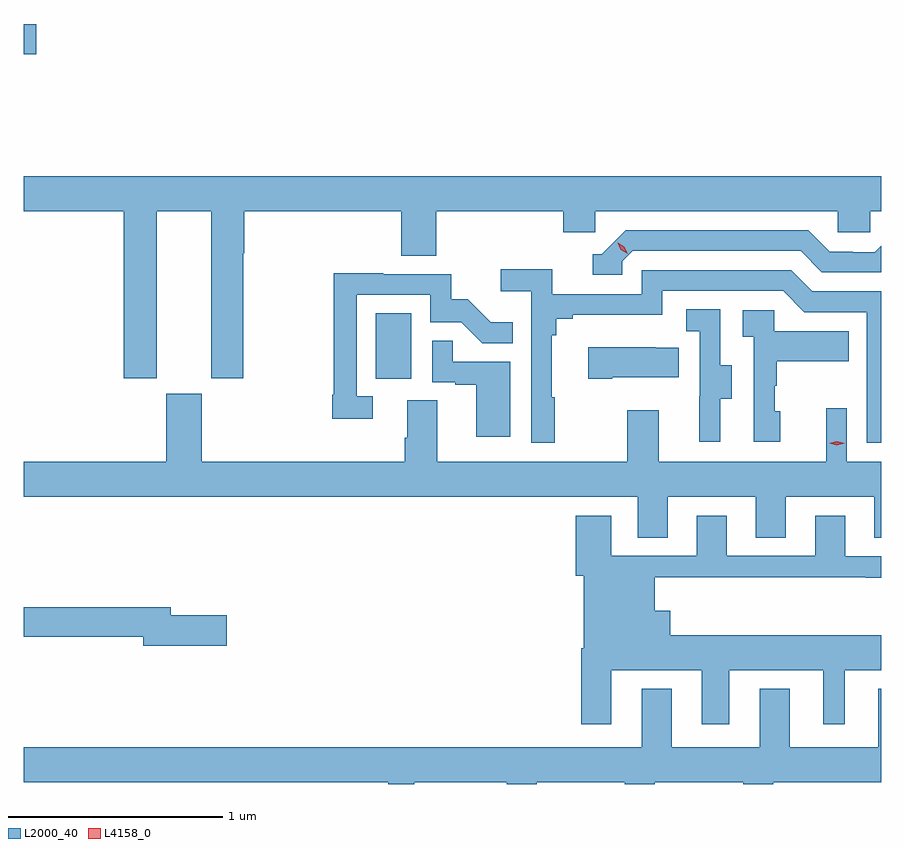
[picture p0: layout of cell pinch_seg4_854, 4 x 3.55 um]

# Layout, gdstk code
import gdstk
lib = gdstk.Library(unit=1e-6, precision=1e-09)
def R(c, l, rs):  # rectangles x0, y0, x1, y1
    for r in rs: c.add(gdstk.rectangle(r[:2], r[2:], *l))
def P(c, l, *ps):  # polygons
    for p in ps: c.add(gdstk.Polygon(p, *l))
L2000_40 = (2000, 40)
L4158_0 = (4158, 0)

pinch_seg4_854 = lib.new_cell('pinch_seg4_854')
R(pinch_seg4_854, L2000_40, [(840.644,801.366,840.808,801.673), (839.001,802.88,839.059,803.022)])
P(pinch_seg4_854, L2000_40, [(839.62,802.148),(839.876,802.148),(839.876,801.369),(840.024,801.369),(840.024,801.952),(840.029,801.952),(840.029,802.148),(840.761,802.148),(840.761,801.94),(840.926,801.94),(840.926,802.148),(841.517,802.148),(841.517,802.05),(841.668,802.05),(841.668,802.148),(842.799,802.148),(842.799,802.05),(842.949,802.05),(842.949,802.148),(843.001,802.148),(843.001,802.312),(839.001,802.312),(839.001,802.148),(839.468,802.148),(839.468,801.369),(839.62,801.369)],
  [(841.794,801.915),(841.842,801.963),(842.625,801.963),(842.724,801.864),(843.001,801.864),(843.001,801.988),(842.971,801.957),(842.868,801.957),(842.868,801.96),(842.761,801.96),(842.662,802.059),(841.809,802.059),(841.698,801.948),(841.655,801.948),(841.655,801.852),(841.794,801.852)],
  [(841.477,801.281),(841.465,801.281),(841.465,801.569),(841.484,801.569),(841.484,801.646),(841.561,801.646),(841.561,801.665),(841.98,801.665),(841.98,801.777),(842.544,801.777),(842.643,801.678),(842.934,801.678),(842.934,801.069),(843.001,801.069),(843.001,801.774),(842.68,801.774),(842.581,801.873),(841.884,801.873),(841.884,801.762),(841.466,801.762),(841.466,801.878),(841.227,801.878),(841.227,801.776),(841.368,801.776),(841.368,801.069),(841.477,801.069)],
  [(840.628,801.285),(840.555,801.285),(840.555,801.759),(840.897,801.759),(840.897,801.63),(841.041,801.63),(841.139,801.532),(841.283,801.532),(841.283,801.631),(841.179,801.631),(841.072,801.738),(840.996,801.738),(840.996,801.855),(840.677,801.855),(840.677,801.86),(840.447,801.86),(840.447,801.292),(840.439,801.292),(840.439,801.18),(840.628,801.18)],
  [(842.251,801.274),(842.305,801.274),(842.305,801.429),(842.25,801.429),(842.25,801.692),(842.091,801.692),(842.091,801.589),(842.154,801.589),(842.154,801.285),(842.153,801.285),(842.153,801.072),(842.251,801.072)],
  [(842.53,801.216),(842.505,801.216),(842.505,801.335),(842.515,801.335),(842.515,801.449),(842.849,801.449),(842.849,801.589),(842.502,801.589),(842.502,801.687),(842.355,801.687),(842.355,801.563),(842.406,801.563),(842.406,801.072),(842.53,801.072)],
  [(841.27,801.447),(841.001,801.447),(841.001,801.545),(840.906,801.545),(840.906,801.351),(841.013,801.351),(841.013,801.339),(841.112,801.339),(841.112,801.096),(841.27,801.096)],
  [(841.747,801.374),(842.057,801.374),(842.057,801.511),(841.949,801.511),(841.949,801.514),(841.635,801.514),(841.635,801.367),(841.747,801.367)],
  [(842.005,800.816),(842.417,800.816),(842.417,800.626),(842.557,800.626),(842.557,800.816),(842.969,800.816),(842.969,800.626),(843.001,800.626),(843.001,800.98),(842.841,800.98),(842.841,801.229),(842.744,801.229),(842.744,800.98),(841.963,800.98),(841.963,801.22),(841.816,801.22),(841.816,800.98),(840.931,800.98),(840.931,801.266),(840.791,801.266),(840.791,801.092),(840.779,801.092),(840.779,800.98),(839.83,800.98),(839.83,801.297),(839.666,801.297),(839.666,800.98),(839.001,800.98),(839.001,800.816),(841.865,800.816),(841.865,800.626),(842.005,800.626)],
  [(841.741,800.006),(842.165,800.006),(842.165,799.755),(842.293,799.755),(842.293,800.006),(842.732,800.006),(842.732,799.755),(842.83,799.755),(842.83,800.006),(843.001,800.006),(843.001,800.17),(842.017,800.17),(842.017,800.284),(841.945,800.284),(841.945,800.44),(842.929,800.44),(842.929,800.438),(843.001,800.438),(843.001,800.538),(842.833,800.538),(842.833,800.728),(842.693,800.728),(842.693,800.541),(842.281,800.541),(842.281,800.728),(842.141,800.728),(842.141,800.541),(841.741,800.541),(841.741,800.728),(841.577,800.728),(841.577,800.448),(841.613,800.448),(841.613,800.11),(841.601,800.11),(841.601,799.755),(841.741,799.755)],
  [(839.947,800.264),(839.686,800.264),(839.686,800.3),(839.001,800.3),(839.001,800.164),(839.558,800.164),(839.558,800.122),(839.947,800.122)],
  [(840.823,799.484),(841.253,799.484),(841.253,799.476),(841.393,799.476),(841.393,799.484),(841.805,799.484),(841.805,799.476),(841.945,799.476),(841.945,799.484),(842.357,799.484),(842.357,799.476),(842.497,799.476),(842.497,799.484),(843.001,799.484),(843.001,799.921),(842.987,799.921),(842.987,799.648),(842.575,799.648),(842.575,799.921),(842.435,799.921),(842.435,799.648),(842.023,799.648),(842.023,799.921),(841.883,799.921),(841.883,799.648),(839.001,799.648),(839.001,799.484),(840.702,799.484),(840.702,799.476),(840.823,799.476)])
P(pinch_seg4_854, L4158_0, [(841.818,801.949),(841.787,801.968),(841.771,802.001),(841.771,802.001),(841.771,802.001),(841.802,801.982),(841.818,801.95),(841.818,801.949)],
  [(842.794,801.056),(842.758,801.066),(842.758,801.066),(842.758,801.066),(842.794,801.076),(842.83,801.066),(842.83,801.066),(842.83,801.066)])

lib.write_gds('pinch_seg4_854.gds')
